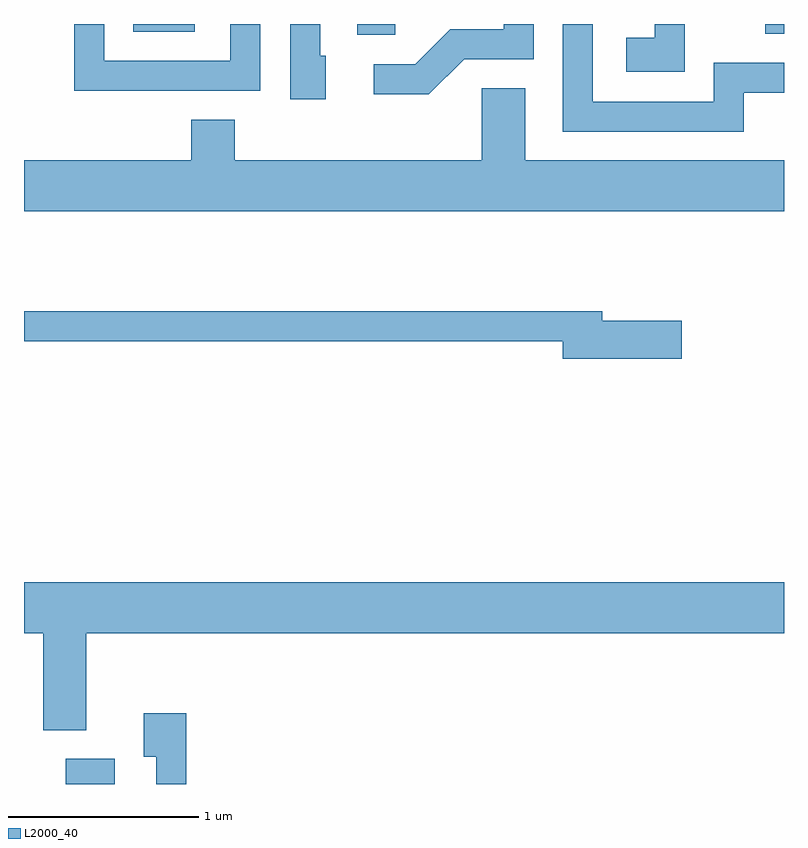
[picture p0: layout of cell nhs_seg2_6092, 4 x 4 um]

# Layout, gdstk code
import gdstk
lib = gdstk.Library(unit=1e-6, precision=1e-09)
def R(c, l, rs):  # rectangles x0, y0, x1, y1
    for r in rs: c.add(gdstk.rectangle(r[:2], r[2:], *l))
def P(c, l, *ps):  # polygons
    for p in ps: c.add(gdstk.Polygon(p, *l))
L2000_40 = (2000, 40)

nhs_seg2_6092 = lib.new_cell('nhs_seg2_6092')
R(nhs_seg2_6092, L2000_40, [(365.831,989.802,366.089,989.934), (367.366,993.746,367.564,993.802), (369.511,993.751,369.611,993.802), (366.186,993.761,366.509,993.802)])
P(nhs_seg2_6092, L2000_40, [(367.199,993.634),(367.169,993.634),(367.169,993.802),(367.011,993.802),(367.011,993.406),(367.199,993.406)],
  [(369.399,993.441),(369.611,993.441),(369.611,993.599),(369.241,993.599),(369.241,993.394),(368.604,993.394),(368.604,993.802),(368.446,993.802),(368.446,993.236),(369.399,993.236)],
  [(369.089,993.802),(368.931,993.802),(368.931,993.729),(368.781,993.729),(368.781,993.551),(369.089,993.551)],
  [(367.927,993.616),(368.294,993.616),(368.294,993.802),(368.136,993.802),(368.136,993.774),(367.854,993.774),(367.669,993.589),(367.453,993.589),(367.453,993.431),(367.742,993.431)],
  [(366.854,993.802),(366.696,993.802),(366.696,993.609),(366.034,993.609),(366.034,993.802),(365.876,993.802),(365.876,993.451),(366.854,993.451)],
  [(369.611,993.084),(368.249,993.084),(368.249,993.464),(368.021,993.464),(368.021,993.084),(366.719,993.084),(366.719,993.299),(366.491,993.299),(366.491,993.084),(365.611,993.084),(365.611,992.816),(369.611,992.816)],
  [(369.074,992.239),(368.654,992.239),(368.654,992.289),(365.611,992.289),(365.611,992.131),(368.446,992.131),(368.446,992.041),(369.074,992.041)],
  [(365.939,990.596),(369.611,990.596),(369.611,990.864),(365.611,990.864),(365.611,990.596),(365.711,990.596),(365.711,990.086),(365.939,990.086)],
  [(366.464,990.174),(366.241,990.174),(366.241,989.946),(366.306,989.946),(366.306,989.802),(366.464,989.802)])

lib.write_gds('nhs_seg2_6092.gds')
